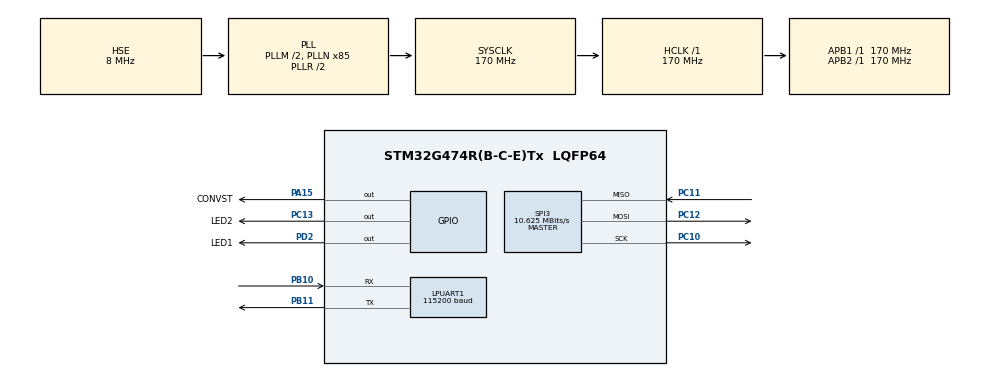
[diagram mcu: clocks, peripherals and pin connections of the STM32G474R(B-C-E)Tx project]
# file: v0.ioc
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LPUART1.BaudRate=115200
LPUART1.OneBitSampling=UART_ONE_BIT_SAMPLE_DISABLE
LPUART1.WordLength=UART_WORDLENGTH_8B
Mcu.Family=STM32G4
Mcu.Name=STM32G474R(B-C-E)Tx
Mcu.Package=LQFP64
NVIC.PriorityGroup=NVIC_PRIORITYGROUP_4
NVIC.TIM2_IRQn=true\:0\:0\:false\:false\:true\:true\:true\:true
NVIC.TIM3_IRQn=true\:0\:0\:false\:false\:true\:true\:true\:true
PA15.GPIO_Label=CONVST
PA15.PinState=GPIO_PIN_SET
PA15.Signal=GPIO_Output
PB10.GPIO_PuPd=GPIO_PULLUP
PB10.Mode=Asynchronous
PB10.Signal=LPUART1_RX
PB11.GPIO_PuPd=GPIO_PULLUP
PB11.Mode=Asynchronous
PB11.Signal=LPUART1_TX
PC10.Mode=Full_Duplex_Master
PC10.Signal=SPI3_SCK
PC11.Mode=Full_Duplex_Master
PC11.Signal=SPI3_MISO
PC12.Mode=Full_Duplex_Master
PC12.Signal=SPI3_MOSI
PC13.GPIO_Label=LED2
PC13.Signal=GPIO_Output
PC14-OSC32_IN.Mode=LSE-External-Oscillator
PC14-OSC32_IN.Signal=RCC_OSC32_IN
PC15-OSC32_OUT.Mode=LSE-External-Oscillator
PC15-OSC32_OUT.Signal=RCC_OSC32_OUT
PD2.GPIO_Label=LED1
PD2.Signal=GPIO_Output
PF0-OSC_IN.Mode=HSE-External-Oscillator
PF0-OSC_IN.Signal=RCC_OSC_IN
PF1-OSC_OUT.Mode=HSE-External-Oscillator
PF1-OSC_OUT.Signal=RCC_OSC_OUT
ProjectManager.HeapSize=0x200
ProjectManager.StackSize=0x400
ProjectManager.TargetToolchain=CMake
RCC.ADC12Freq_Value=170000000
RCC.ADC345Freq_Value=170000000
RCC.AHBFreq_Value=170000000
RCC.APB1Freq_Value=170000000
RCC.APB1TimFreq_Value=170000000
RCC.APB2Freq_Value=170000000
RCC.APB2TimFreq_Value=170000000
RCC.CK48CLockSelection=RCC_USBCLKSOURCE_HSI48
RCC.CortexFreq_Value=170000000
RCC.EXTERNAL_CLOCK_VALUE=12288000
RCC.HCLKFreq_Value=170000000
RCC.HSE_VALUE=8000000
RCC.HSI48_VALUE=48000000
RCC.HSI_VALUE=16000000
RCC.PLLM=RCC_PLLM_DIV2
RCC.PLLN=85
RCC.PLLSourceVirtual=RCC_PLLSOURCE_HSE
RCC.RTCClockSelection=RCC_RTCCLKSOURCE_LSE
RCC.SYSCLKFreq_VALUE=170000000
RCC.SYSCLKSource=RCC_SYSCLKSOURCE_PLLCLK
RCC.USBFreq_Value=48000000
RCC.VCOOutputFreq_Value=340000000
SPI3.BaudRatePrescaler=SPI_BAUDRATEPRESCALER_16
SPI3.CLKPhase=SPI_PHASE_1EDGE
SPI3.CalculateBaudRate=10.625 MBits/s
SPI3.DataSize=SPI_DATASIZE_16BIT
SPI3.Direction=SPI_DIRECTION_2LINES
SPI3.Mode=SPI_MODE_MASTER
SPI3.VirtualType=VM_MASTER
TIM2.AutoReloadPreload=TIM_AUTORELOAD_PRELOAD_ENABLE
TIM2.PeriodNoDither=5187
TIM2.Prescaler=0
TIM2.TIM_MasterOutputTrigger=TIM_TRGO_UPDATE
TIM3.AutoReloadPreload=TIM_AUTORELOAD_PRELOAD_ENABLE
TIM3.PeriodNoDither=999
TIM3.Prescaler=16999
VP_RTC_VS_RTC_Activate.Mode=RTC_Enabled
VP_SYS_VS_DBSignals.Mode=DisableDeadBatterySignals
VP_TIM2_VS_ClockSourceINT.Mode=Internal
VP_TIM3_VS_ClockSourceINT.Mode=Internal
board=NUCLEO-G474RE

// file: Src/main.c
/* USER CODE BEGIN Header */
/**
  ******************************************************************************
  * @file           : main.c
  * @brief          : Main program body
  ******************************************************************************
  * @attention
  *
  * Copyright (c) 2026 STMicroelectronics.
  * All rights reserved.
  *
  * This software is licensed under terms that can be found in the LICENSE file
  * in the root directory of this software component.
  * If no LICENSE file comes with this software, it is provided AS-IS.
  *
  ******************************************************************************
  */
/* USER CODE END Header */
#include "main.h"

/* USER CODE BEGIN Includes */
#include "led_indicator.h"
#include "uart_protocol.h"
#include "adc_ads8685.h"
#include "app_state_machine.h"
/* USER CODE END Includes */

/* USER CODE BEGIN PD */
/* SELF_TEST 宏已移至 Inc/main.h */
/* USER CODE END PD */

UART_HandleTypeDef hlpuart1;

RTC_HandleTypeDef hrtc;

SPI_HandleTypeDef hspi3;

TIM_HandleTypeDef htim2;
TIM_HandleTypeDef htim3;

void SystemClock_Config(void);
static void MX_GPIO_Init(void);
static void MX_LPUART1_UART_Init(void);
static void MX_RTC_Init(void);
static void MX_SPI3_Init(void);
static void MX_TIM2_Init(void);
static void MX_TIM3_Init(void);

/* USER CODE BEGIN 0 */

/**
  * @brief  初始化 DWT Cycle Counter
  */
static void HAL_DWT_Init(void)
{
    CoreDebug->DEMCR |= CoreDebug_DEMCR_TRCENA_Msk;
    DWT->CYCCNT = 0;
    DWT->CTRL |= DWT_CTRL_CYCCNTENA_Msk;
}

/* USER CODE END 0 */

int main(void)
{

  /* MCU Configuration--------------------------------------------------------*/

  /* Reset of all peripherals, Initializes the Flash interface and the Systick. */
  HAL_Init();

  /* Configure the system clock */
  SystemClock_Config();

  /* Initialize all configured peripherals */
  MX_GPIO_Init();

  /* 固件版本标记：上电后 LED2 常亮 3 秒，确认新固件已运行 */
  HAL_GPIO_WritePin(LED2_GPIO_Port, LED2_Pin, GPIO_PIN_RESET);  /* LED2 亮（低电平） */
  HAL_Delay(3000);  /* 延时 3 秒 */
  HAL_GPIO_WritePin(LED2_GPIO_Port, LED2_Pin, GPIO_PIN_SET);    /* LED2 灭 */

  MX_LPUART1_UART_Init();
  MX_RTC_Init();
  MX_SPI3_Init();
  MX_TIM2_Init();
  MX_TIM3_Init();
  /* USER CODE BEGIN 2 */
  /* ---------- 初始化用户模块 ---------- */
  led_indicator_init();           /* LED 初始常亮 */
  adc_ads8685_init();             /* 配置 ADS8685 ±10.24V + daisy chain */
  app_state_machine_init();       /* 状态机初始化为 IDLE */

  HAL_DWT_Init();                 /* 初始化 DWT Cycle Counter（用于 delay_us） */
  HAL_TIM_Base_Start_IT(&htim3);  /* 启动 TIM3 中断（10Hz, LED闪烁） */
  /* TIM2 由状态机控制启停：进入 ADC_CONV 时启动，采集完成/DATA_TRANS 时停止 */

#if SELF_TEST
  evt_start_received = 1;         /* 模拟上位机发送 START 指令，自动触发采集 */
#else
  uart_protocol_init();           /* 启动 UART 接收中断（正常模式） */
#endif

  /* USER CODE END 2 */

  /* Infinite loop */
  while (1)
  {

    /* USER CODE BEGIN 3 */
    uart_protocol_rx_process();   /* 处理 UART 接收数据 */
    app_state_machine_run();      /* 状态机主循环 */
  }
  /* USER CODE END 3 */
}

void SystemClock_Config(void)
{
  RCC_OscInitTypeDef RCC_OscInitStruct = {0};
  RCC_ClkInitTypeDef RCC_ClkInitStruct = {0};

  /** Configure the main internal regulator output voltage
  */
  HAL_PWREx_ControlVoltageScaling(PWR_REGULATOR_VOLTAGE_SCALE1_BOOST);

  /** Configure LSE Drive Capability
  */
  HAL_PWR_EnableBkUpAccess();
  __HAL_RCC_LSEDRIVE_CONFIG(RCC_LSEDRIVE_LOW);

  /** Initializes the RCC Oscillators according to the specified parameters
  * in the RCC_OscInitTypeDef structure.
  */
  RCC_OscInitStruct.OscillatorType = RCC_OSCILLATORTYPE_HSE|RCC_OSCILLATORTYPE_LSE;
  RCC_OscInitStruct.HSEState = RCC_HSE_ON;
  RCC_OscInitStruct.LSEState = RCC_LSE_ON;
  RCC_OscInitStruct.PLL.PLLState = RCC_PLL_ON;
  RCC_OscInitStruct.PLL.PLLSource = RCC_PLLSOURCE_HSE;
  RCC_OscInitStruct.PLL.PLLM = RCC_PLLM_DIV2;
  RCC_OscInitStruct.PLL.PLLN = 85;
  RCC_OscInitStruct.PLL.PLLP = RCC_PLLP_DIV2;
  RCC_OscInitStruct.PLL.PLLQ = RCC_PLLQ_DIV2;
  RCC_OscInitStruct.PLL.PLLR = RCC_PLLR_DIV2;
  if (HAL_RCC_OscConfig(&RCC_OscInitStruct) != HAL_OK)
  {
    Error_Handler();
  }

  /** Initializes the CPU, AHB and APB buses clocks
  */
  RCC_ClkInitStruct.ClockType = RCC_CLOCKTYPE_HCLK|RCC_CLOCKTYPE_SYSCLK
                              |RCC_CLOCKTYPE_PCLK1|RCC_CLOCKTYPE_PCLK2;
  RCC_ClkInitStruct.SYSCLKSource = RCC_SYSCLKSOURCE_PLLCLK;
  RCC_ClkInitStruct.AHBCLKDivider = RCC_SYSCLK_DIV1;
  RCC_ClkInitStruct.APB1CLKDivider = RCC_HCLK_DIV1;
  RCC_ClkInitStruct.APB2CLKDivider = RCC_HCLK_DIV1;

  if (HAL_RCC_ClockConfig(&RCC_ClkInitStruct, FLASH_LATENCY_4) != HAL_OK)
  {
    Error_Handler();
  }
}

static void MX_LPUART1_UART_Init(void)
{

  hlpuart1.Instance = LPUART1;
  hlpuart1.Init.BaudRate = 115200;
  hlpuart1.Init.WordLength = UART_WORDLENGTH_8B;
  hlpuart1.Init.StopBits = UART_STOPBITS_1;
  hlpuart1.Init.Parity = UART_PARITY_NONE;
  hlpuart1.Init.Mode = UART_MODE_TX_RX;
  hlpuart1.Init.HwFlowCtl = UART_HWCONTROL_NONE;
  hlpuart1.Init.OneBitSampling = UART_ONE_BIT_SAMPLE_DISABLE;
  hlpuart1.Init.ClockPrescaler = UART_PRESCALER_DIV1;
  hlpuart1.AdvancedInit.AdvFeatureInit = UART_ADVFEATURE_NO_INIT;
  if (HAL_UART_Init(&hlpuart1) != HAL_OK)
  {
    Error_Handler();
  }
  if (HAL_UARTEx_SetTxFifoThreshold(&hlpuart1, UART_TXFIFO_THRESHOLD_1_8) != HAL_OK)
  {
    Error_Handler();
  }
  if (HAL_UARTEx_SetRxFifoThreshold(&hlpuart1, UART_RXFIFO_THRESHOLD_1_8) != HAL_OK)
  {
    Error_Handler();
  }
  if (HAL_UARTEx_DisableFifoMode(&hlpuart1) != HAL_OK)
  {
    Error_Handler();
  }
  /* USER CODE BEGIN LPUART1_Init 2 */
  /* 使能 NVIC UART 中断 */
  HAL_NVIC_SetPriority(LPUART1_IRQn, 0, 0);
  HAL_NVIC_EnableIRQ(LPUART1_IRQn);
  /* USER CODE END LPUART1_Init 2 */

}

static void MX_RTC_Init(void)
{

  /** Initialize RTC Only
  */
  hrtc.Instance = RTC;
  hrtc.Init.HourFormat = RTC_HOURFORMAT_24;
  hrtc.Init.AsynchPrediv = 127;
  hrtc.Init.SynchPrediv = 255;
  hrtc.Init.OutPut = RTC_OUTPUT_DISABLE;
  hrtc.Init.OutPutRemap = RTC_OUTPUT_REMAP_NONE;
  hrtc.Init.OutPutPolarity = RTC_OUTPUT_POLARITY_HIGH;
  hrtc.Init.OutPutType = RTC_OUTPUT_TYPE_OPENDRAIN;
  hrtc.Init.OutPutPullUp = RTC_OUTPUT_PULLUP_NONE;
  if (HAL_RTC_Init(&hrtc) != HAL_OK)
  {
    Error_Handler();
  }

}

static void MX_SPI3_Init(void)
{

  /* SPI3 parameter configuration*/
  hspi3.Instance = SPI3;
  hspi3.Init.Mode = SPI_MODE_MASTER;
  hspi3.Init.Direction = SPI_DIRECTION_2LINES;
  hspi3.Init.DataSize = SPI_DATASIZE_16BIT;
  hspi3.Init.CLKPolarity = SPI_POLARITY_LOW;
  hspi3.Init.CLKPhase = SPI_PHASE_1EDGE;
  hspi3.Init.NSS = SPI_NSS_SOFT;
  hspi3.Init.BaudRatePrescaler = SPI_BAUDRATEPRESCALER_16;
  hspi3.Init.FirstBit = SPI_FIRSTBIT_MSB;
  hspi3.Init.TIMode = SPI_TIMODE_DISABLE;
  hspi3.Init.CRCCalculation = SPI_CRCCALCULATION_DISABLE;
  hspi3.Init.CRCPolynomial = 7;
  hspi3.Init.CRCLength = SPI_CRC_LENGTH_DATASIZE;
  hspi3.Init.NSSPMode = SPI_NSS_PULSE_ENABLE;
  if (HAL_SPI_Init(&hspi3) != HAL_OK)
  {
    Error_Handler();
  }

}

static void MX_TIM2_Init(void)
{

  TIM_ClockConfigTypeDef sClockSourceConfig = {0};
  TIM_MasterConfigTypeDef sMasterConfig = {0};

  htim2.Instance = TIM2;
  htim2.Init.Prescaler = 0;
  htim2.Init.CounterMode = TIM_COUNTERMODE_UP;
  htim2.Init.Period = 5187;
  htim2.Init.ClockDivision = TIM_CLOCKDIVISION_DIV1;
  htim2.Init.AutoReloadPreload = TIM_AUTORELOAD_PRELOAD_ENABLE;
  if (HAL_TIM_Base_Init(&htim2) != HAL_OK)
  {
    Error_Handler();
  }
  sClockSourceConfig.ClockSource = TIM_CLOCKSOURCE_INTERNAL;
  if (HAL_TIM_ConfigClockSource(&htim2, &sClockSourceConfig) != HAL_OK)
  {
    Error_Handler();
  }
  sMasterConfig.MasterOutputTrigger = TIM_TRGO_UPDATE;
  sMasterConfig.MasterSlaveMode = TIM_MASTERSLAVEMODE_DISABLE;
  if (HAL_TIMEx_MasterConfigSynchronization(&htim2, &sMasterConfig) != HAL_OK)
  {
    Error_Handler();
  }

}

static void MX_TIM3_Init(void)
{

  TIM_ClockConfigTypeDef sClockSourceConfig = {0};
  TIM_MasterConfigTypeDef sMasterConfig = {0};

  htim3.Instance = TIM3;
  htim3.Init.Prescaler = 16999;
  htim3.Init.CounterMode = TIM_COUNTERMODE_UP;
  htim3.Init.Period = 999;
  htim3.Init.ClockDivision = TIM_CLOCKDIVISION_DIV1;
  htim3.Init.AutoReloadPreload = TIM_AUTORELOAD_PRELOAD_ENABLE;
  if (HAL_TIM_Base_Init(&htim3) != HAL_OK)
  {
    Error_Handler();
  }
  sClockSourceConfig.ClockSource = TIM_CLOCKSOURCE_INTERNAL;
  if (HAL_TIM_ConfigClockSource(&htim3, &sClockSourceConfig) != HAL_OK)
  {
    Error_Handler();
  }
  sMasterConfig.MasterOutputTrigger = TIM_TRGO_RESET;
  sMasterConfig.MasterSlaveMode = TIM_MASTERSLAVEMODE_DISABLE;
  if (HAL_TIMEx_MasterConfigSynchronization(&htim3, &sMasterConfig) != HAL_OK)
  {
    Error_Handler();
  }

}

static void MX_GPIO_Init(void)
{
  GPIO_InitTypeDef GPIO_InitStruct = {0};

  /* GPIO Ports Clock Enable */
  __HAL_RCC_GPIOC_CLK_ENABLE();
  __HAL_RCC_GPIOF_CLK_ENABLE();
  __HAL_RCC_GPIOB_CLK_ENABLE();
  __HAL_RCC_GPIOA_CLK_ENABLE();
  __HAL_RCC_GPIOD_CLK_ENABLE();

  /*Configure GPIO pin Output Level */
  HAL_GPIO_WritePin(LED2_GPIO_Port, LED2_Pin, GPIO_PIN_RESET);

  /*Configure GPIO pin Output Level */
  HAL_GPIO_WritePin(CONVST_GPIO_Port, CONVST_Pin, GPIO_PIN_SET);

  /*Configure GPIO pin Output Level */
  HAL_GPIO_WritePin(LED1_GPIO_Port, LED1_Pin, GPIO_PIN_RESET);

  /*Configure GPIO pin : LED2_Pin */
  GPIO_InitStruct.Pin = LED2_Pin;
  GPIO_InitStruct.Mode = GPIO_MODE_OUTPUT_PP;
  GPIO_InitStruct.Pull = GPIO_NOPULL;
  GPIO_InitStruct.Speed = GPIO_SPEED_FREQ_LOW;
  HAL_GPIO_Init(LED2_GPIO_Port, &GPIO_InitStruct);

  /*Configure GPIO pin : CONVST_Pin */
  GPIO_InitStruct.Pin = CONVST_Pin;
  GPIO_InitStruct.Mode = GPIO_MODE_OUTPUT_PP;
  GPIO_InitStruct.Pull = GPIO_NOPULL;
  GPIO_InitStruct.Speed = GPIO_SPEED_FREQ_LOW;
  HAL_GPIO_Init(CONVST_GPIO_Port, &GPIO_InitStruct);

  /*Configure GPIO pin : LED1_Pin */
  GPIO_InitStruct.Pin = LED1_Pin;
  GPIO_InitStruct.Mode = GPIO_MODE_OUTPUT_PP;
  GPIO_InitStruct.Pull = GPIO_NOPULL;
  GPIO_InitStruct.Speed = GPIO_SPEED_FREQ_LOW;
  HAL_GPIO_Init(LED1_GPIO_Port, &GPIO_InitStruct);

}

/* USER CODE BEGIN 4 */

/**
  * @brief  TIM2/TIM3 周期中断回调
  */
void HAL_TIM_PeriodElapsedCallback(TIM_HandleTypeDef *htim)
{
    if (htim->Instance == TIM2) {
        /* TIM2: 32768Hz → 每次中断完成一次采样 */
        adc_ads8685_read_sample();
    }
    else if (htim->Instance == TIM3) {
        /* TIM3: 10Hz → 每 100ms 翻转 LED */
        if (adc_spi_timeout_error) {
            /* SPI 超时错误 → LED1 心跳 + LED2 满闪（500ms 翻转） */
            HAL_GPIO_TogglePin(LED1_GPIO_Port, LED1_Pin);    /* LED1 保持 100ms 翻转 */
            adc_led_slow_tick++;
            if (adc_led_slow_tick >= 5) {                     /* 每 500ms 翻转 LED2 */
                adc_led_slow_tick = 0;
                HAL_GPIO_TogglePin(LED2_GPIO_Port, LED2_Pin);
            }
        } else {
            led_indicator_tick();
        }
    }
}

/**
  * @brief  UART 发送完成回调
  */
void HAL_UART_TxCpltCallback(UART_HandleTypeDef *huart)
{
    if (huart->Instance == LPUART1) {
        evt_tx_done = 1;
    }
}

/* USER CODE END 4 */

void Error_Handler(void)
{
  __disable_irq();
  while (1)
  {
  }
}
